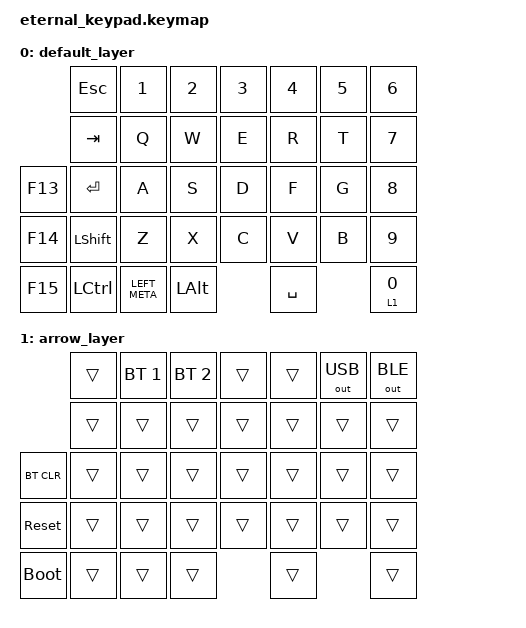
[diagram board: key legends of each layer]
/*
 * Copyright (c) 2022 The ZMK Contributors
 *
 * SPDX-License-Identifier: MIT
 */

#include <behaviors.dtsi>
#include <dt-bindings/zmk/bt.h>
#include <dt-bindings/zmk/keys.h>
#include <dt-bindings/zmk/outputs.h>

#define BASE        0
#define ARROW       1
#define FUNC        2

/ {
    chosen {
        zmk,kscan = &kscan0;
        zmk,matrix_transform = &default_transform;
    };

    keymap {
        compatible = "zmk,keymap";

        default_layer {
            bindings = <
         &kp ESC    &kp N1         &kp N2    &kp N3  &kp N4     &kp N5  &kp N6
         &kp TAB    &kp Q          &kp W     &kp E   &kp R      &kp T   &kp N7
&kp F13  &kp ENTER  &kp A          &kp S     &kp D   &kp F      &kp G   &kp N8
&kp F14  &kp LSHFT  &kp Z          &kp X     &kp C   &kp V      &kp B   &kp N9
&kp F15  &kp LCTRL  &kp LEFT_META  &kp LALT          &kp SPACE          &lt 1 N0
            >;
        };

        arrow_layer {
            bindings = <
             &trans  &bt BT_SEL 1  &bt BT_SEL 2  &trans  &trans  &out OUT_USB  &out OUT_BLE
             &trans  &trans        &trans        &trans  &trans  &trans        &trans
&bt BT_CLR   &trans  &trans        &trans        &trans  &trans  &trans        &trans
&sys_reset   &trans  &trans        &trans        &trans  &trans  &trans        &trans
&bootloader  &trans  &trans        &trans                &trans                &trans
            >;
        };
    };
};
